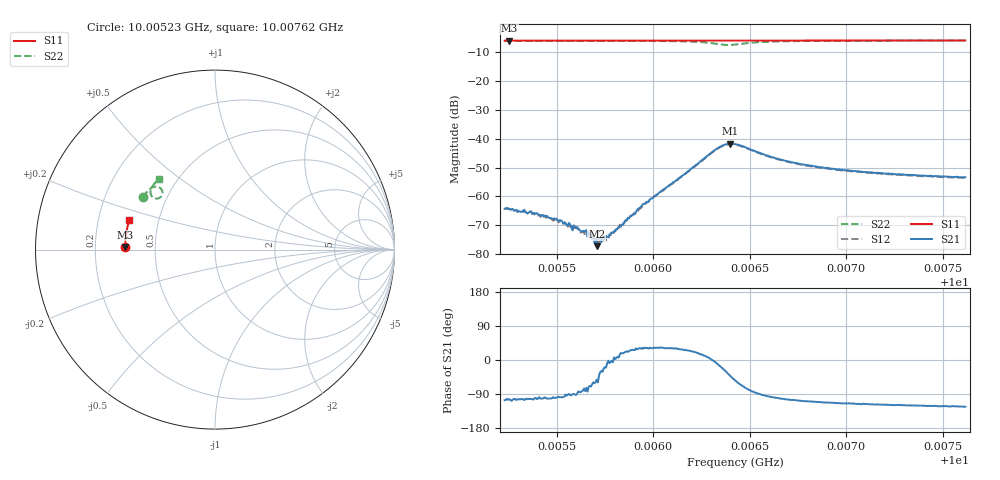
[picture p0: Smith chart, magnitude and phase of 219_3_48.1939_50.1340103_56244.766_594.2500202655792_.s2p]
#  HZ  S  RI  R  50.00
! Rohde & Schwarz Vector Network Analyzer
! Rohde-Schwarz,ZNB20-2Port,1311601062101988,3.16
! Created: UTC 3/20/2024, 11:45:52 AM
! freq[Hz]  re:S11  im:S11  re:S21  im:S21  re:S12  im:S12  re:S22  im:S22
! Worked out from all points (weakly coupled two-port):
!   401 points, 10.00523 GHz to 10.00762 GHz, reference 50 ohm
!   highest |S21| = -41.71 dB at 10.0064 GHz (marker M1); lowest = -77.3 dB at 10.00571 GHz (marker M2)
!   lowest |S11| = -6.0 dB at 10.00525 GHz (marker M3), VSWR 3.00, Z = 16.7 + j0.623 ohm
!   |S11| at or under -10 dB: nowhere
!   |S22| runs from -7.5 to -6.0 dB; largest |S21 - S12| = 0.00051
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1.0005231e10  -0.5001 0.0125  -0.000169 -0.000588  -0.000121 -0.0006  -0.4006 0.2916
1.0005255e10  -0.5 0.014  -0.000139 -0.000593  -0.000134 -0.000602  -0.3996 0.293
1.0005392e10  -0.5 0.023  -8.55e-05 -0.000491  -8e-05 -0.000478  -0.3942 0.3012
1.0005529e10  -0.4997 0.0319  -5.37e-05 -0.000363  -4.69e-05 -0.000362  -0.3882 0.3094
1.0005595e10  -0.4995 0.0363  -6.21e-06 -0.000298  2.17e-05 -0.000282  -0.3851 0.3133
1.0005631e10  -0.4995 0.0385  3.17e-05 -0.000241  2.16e-05 -0.000243  -0.3834 0.3156
1.0005666e10  -0.4993 0.0409  7.63e-05 -0.000219  5.2e-05 -0.000203  -0.3817 0.3178
1.0005696e10  -0.4993 0.0429  7.38e-05 -0.000135  0.000107 -0.000152  -0.3801 0.3197
1.0005708e10  -0.4993 0.0436  8.57e-05 -0.000107  0.000118 -9.78e-05  -0.3793 0.3204
1.0005744e10  -0.499 0.0459  0.00016 -6.58e-05  0.000196 -6.28e-05  -0.3774 0.3228
1.0005768e10  -0.499 0.0474  0.000198 -6.19e-06  0.000168 -4.68e-05  -0.3762 0.3241
1.0005881e10  -0.4984 0.0547  0.000409 0.000194  0.000383 0.000224  -0.369 0.3315
1.0005953e10  -0.4982 0.0595  0.000635 0.000373  0.000596 0.000391  -0.3636 0.3364
1.0006031e10  -0.4977 0.0645  0.000987 0.000606  0.000918 0.000648  -0.3567 0.3417
1.0006323e10  -0.4948 0.0833  0.00641 -0.000662  0.00629 -0.000356  -0.2958 0.3313
1.0006365e10  -0.4944 0.0858  0.00705 -0.00321  0.00703 -0.00282  -0.2939 0.3078
1.0006401e10  -0.4939 0.0878  0.00606 -0.00554  0.00622 -0.00509  -0.3068 0.2898
1.0006425e10  -0.4938 0.0891  0.00477 -0.00651  0.00498 -0.00613  -0.3202 0.2844
1.0006639e10  -0.4922 0.1029  -0.00075 -0.00449  -0.000567 -0.00443  -0.3592 0.3266
1.0006824e10  -0.4901 0.1146  -0.00116 -0.00319  -0.000974 -0.00313  -0.3513 0.3484
1.0007224e10  -0.4845 0.1399  -0.00118 -0.00217  -0.00106 -0.00217  -0.3306 0.3753
1.0007618e10  -0.4775 0.1644  -0.00117 -0.0018  -0.00106 -0.00181  -0.3104 0.3951
